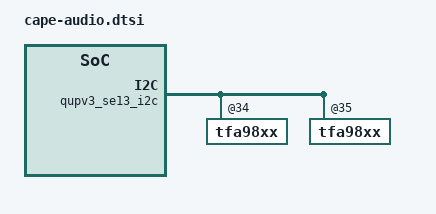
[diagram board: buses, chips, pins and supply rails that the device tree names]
// SPDX-License-Identifier: GPL-2.0-only

#include "waipio-audio.dtsi"

&qupv3_se13_i2c {
	tfa98xx@34 {
		tfa-vdd-voltage = <1800000 1800000>;
		tfa-vdd-current = <200000>;
	};

	tfa98xx@35 {
		tfa-vdd-voltage = <1800000 1800000>;
		tfa-vdd-current = <200000>;
	};
};
